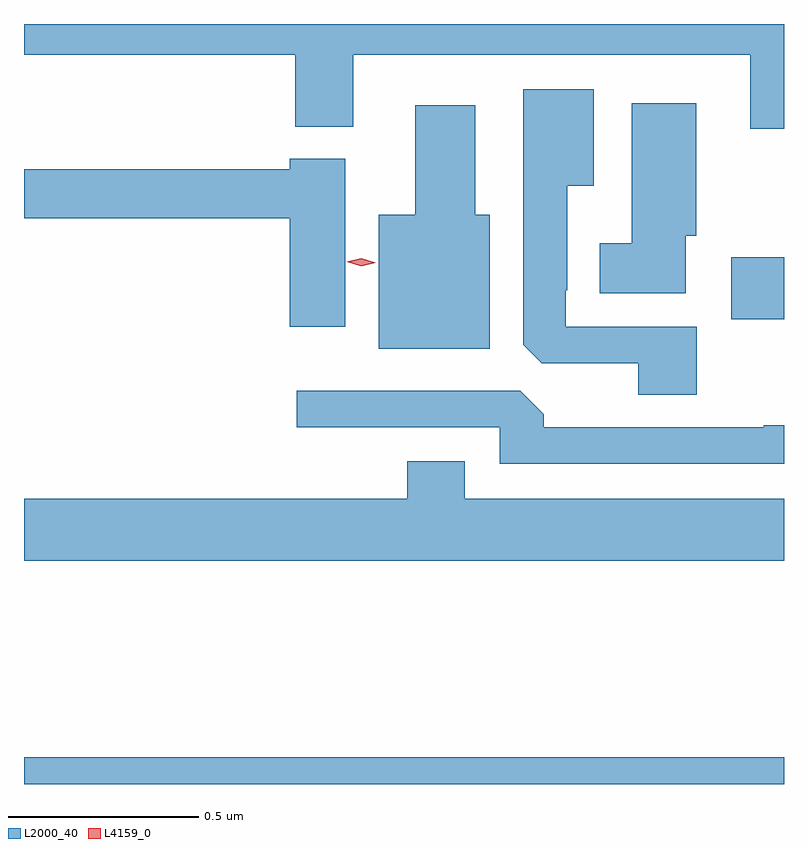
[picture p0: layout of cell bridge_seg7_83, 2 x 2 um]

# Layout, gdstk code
import gdstk
lib = gdstk.Library(unit=1e-6, precision=1e-09)
def R(c, l, rs):  # rectangles x0, y0, x1, y1
    for r in rs: c.add(gdstk.rectangle(r[:2], r[2:], *l))
def P(c, l, *ps):  # polygons
    for p in ps: c.add(gdstk.Polygon(p, *l))
L2000_40 = (2000, 40)
L4159_0 = (4159, 0)

bridge_seg7_83 = lib.new_cell('bridge_seg7_83')
R(bridge_seg7_83, L2000_40, [(1104.599,1000.029,1106.599,1000.1), (1106.46,1001.252,1106.599,1001.415)])
P(bridge_seg7_83, L2000_40, [(1106.599,1002.029),(1104.599,1002.029),(1104.599,1001.948),(1105.313,1001.948),(1105.313,1001.759),(1105.465,1001.759),(1105.465,1001.948),(1106.51,1001.948),(1106.51,1001.754),(1106.599,1001.754)],
  [(1106.369,1001.232),(1106.025,1001.232),(1106.025,1001.329),(1106.029,1001.329),(1106.029,1001.603),(1106.098,1001.603),(1106.098,1001.857),(1105.913,1001.857),(1105.913,1001.185),(1105.962,1001.136),(1106.216,1001.136),(1106.216,1001.053),(1106.369,1001.053)],
  [(1106.341,1001.472),(1106.368,1001.472),(1106.368,1001.821),(1106.198,1001.821),(1106.198,1001.452),(1106.114,1001.452),(1106.114,1001.321),(1106.341,1001.321)],
  [(1105.825,1001.527),(1105.786,1001.527),(1105.786,1001.815),(1105.628,1001.815),(1105.628,1001.527),(1105.532,1001.527),(1105.532,1001.174),(1105.825,1001.174)],
  [(1105.444,1001.674),(1105.298,1001.674),(1105.298,1001.647),(1104.599,1001.647),(1104.599,1001.518),(1105.298,1001.518),(1105.298,1001.232),(1105.444,1001.232)],
  [(1106.599,1000.973),(1106.546,1000.973),(1106.546,1000.968),(1105.967,1000.968),(1105.967,1001.002),(1105.905,1001.064),(1105.317,1001.064),(1105.317,1000.968),(1105.851,1000.968),(1105.851,1000.872),(1106.599,1000.872)],
  [(1106.599,1000.78),(1105.759,1000.78),(1105.759,1000.879),(1105.607,1000.879),(1105.607,1000.78),(1104.599,1000.78),(1104.599,1000.616),(1106.599,1000.616)])
P(bridge_seg7_83, L4159_0, [(1105.486,1001.392),(1105.448,1001.403),(1105.448,1001.403),(1105.448,1001.403),(1105.487,1001.412),(1105.525,1001.401),(1105.525,1001.401),(1105.525,1001.401)])

lib.write_gds('bridge_seg7_83.gds')
